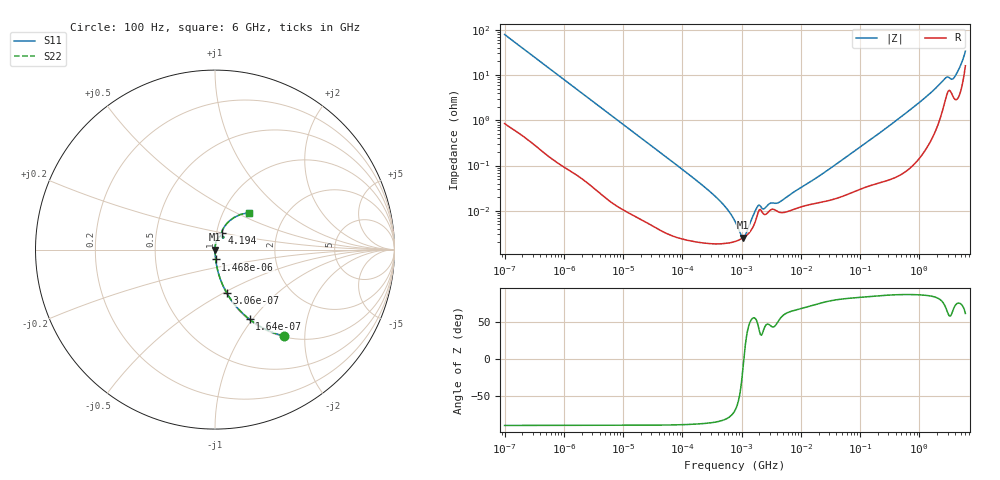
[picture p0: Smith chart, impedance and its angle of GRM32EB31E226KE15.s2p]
!Murata Part Number: GRM32EB31E226KE15
!These Parameters are Measured in Series Mode Connection
!Data Generated on Mar 30, 2021
!  o--ll--o
!Port1  Port2
!  o------o
!Operation Temp=25[degC], DC Bias Voltage=0[V]
!Freq. Start=100[Hz] Stop=6[GHz] 401[Steps]
# Hz S RI R 50
!Freq.(Hz) S11(Real) S11(Imag) S21(Real) S21(Imag) S12(Real) S12(Imag) S22(Real) S22(Imag)
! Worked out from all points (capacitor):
!   401 points, 100 Hz to 6 GHz, reference 50 ohm
!   read as one part in series: C = 20.1 uF near 109 Hz
!   lowest |Z| = 2.57 mohm at 1.06 MHz (marker M1)
!   series resonance near 1.092 MHz, so ESL is about 1.1 nH
!   S11 on the Smith chart (normalised r, x): 100 Hz: 1.02, -1.58; 164 Hz: 1.01, -0.97; 306 Hz: 1.01, -0.52; 1.468 kHz: 1.00, -0.11; 4.194 GHz: 1.06, +0.20; 6 GHz: 1.32, +0.59
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100  0.3851 -0.4813  0.6149 0.4813  0.6149 0.4813  0.3851 -0.4813
164  0.1926 -0.3887  0.8074 0.3887  0.8074 0.3887  0.1926 -0.3887
306  0.0657 -0.2421  0.9343 0.2421  0.9343 0.2421  0.0657 -0.2421
1468  0.00367 -0.0546  0.9963 0.0546  0.9963 0.0546  0.00367 -0.0546
2008  0.00212 -0.0401  0.9979 0.0401  0.9979 0.0401  0.00212 -0.0401
40335  4.26e-05 -0.00204  1 0.00204  1 0.00204  4.26e-05 -0.00204
252896  1.93e-05 -0.000313  1 0.000313  1 0.000313  1.93e-05 -0.000313
592111  1.93e-05 -0.000101  1 0.000101  1 0.000101  1.93e-05 -0.000101
774597  2.1e-05 -5.5e-05  1 5.5e-05  1 5.5e-05  2.1e-05 -5.5e-05
1059725  2.52e-05 -4.8e-06  1 4.8e-06  1 4.8e-06  2.52e-05 -4.8e-06
1585629  4.58e-05 6.7e-05  1 -6.7e-05  1 -6.7e-05  4.58e-05 6.7e-05
1983483  0.000105 8.45e-05  0.9999 -8.45e-05  0.9999 -8.45e-05  0.000105 8.45e-05
2372521  8.42e-05 7.1e-05  0.9999 -7.1e-05  0.9999 -7.1e-05  8.42e-05 7.1e-05
3103719  0.000105 0.000105  0.9999 -0.000105  0.9999 -0.000105  0.000105 0.000105
4246196  9.38e-05 0.000121  0.9999 -0.000121  0.9999 -0.000121  9.38e-05 0.000121
1.555665e7  0.000141 0.000444  0.9999 -0.000444  0.9999 -0.000444  0.000141 0.000444
3.124326e8  0.000541 0.00758  0.9995 -0.00758  0.9995 -0.00758  0.000541 0.00758
1.197065e9  0.00286 0.0299  0.9971 -0.0299  0.9971 -0.0299  0.00286 0.0299
2.679998e9  0.03 0.075  0.97 -0.075  0.97 -0.075  0.03 0.075
3.666503e9  0.0385 0.0687  0.9615 -0.0687  0.9615 -0.0687  0.0385 0.0687
4.193612e9  0.0367 0.0934  0.9633 -0.0934  0.9633 -0.0934  0.0367 0.0934
6e9  0.1912 0.2067  0.8088 -0.2067  0.8088 -0.2067  0.1912 0.2067
